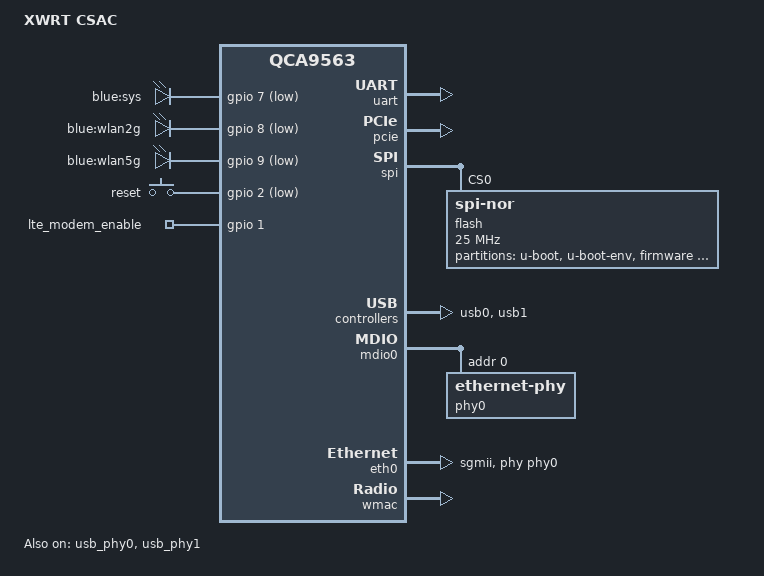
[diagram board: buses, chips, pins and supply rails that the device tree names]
// SPDX-License-Identifier: GPL-2.0-or-later OR MIT
/dts-v1/;

#include <dt-bindings/gpio/gpio.h>
#include <dt-bindings/input/input.h>

#include "qca956x.dtsi"

/ {
	model = "XWRT CSAC";
	compatible = "xwrt,csac", "qca,qca9563";

	aliases {
		led-boot = &led_sys;
		led-failsafe = &led_sys;
		led-running = &led_sys;
		led-upgrade = &led_sys;
	};

	chosen {
		bootargs = "console=ttyS0,115200n8";
	};

	leds {
		compatible = "gpio-leds";

		led_sys: sys {
			label = "blue:sys";
			gpios = <&gpio 7 GPIO_ACTIVE_LOW>;
		};

		wlan2g {
			label = "blue:wlan2g";
			gpios = <&gpio 8 GPIO_ACTIVE_LOW>;
		};

		wlan5g {
			label = "blue:wlan5g";
			gpios = <&gpio 9 GPIO_ACTIVE_LOW>;
		};
	};

	keys {
		compatible = "gpio-keys";

		reset {
			linux,code = <KEY_RESTART>;
			gpios = <&gpio 2 GPIO_ACTIVE_LOW>;
			debounce-interval = <60>;
		};
	};

	gpio_export {
		compatible = "gpio-export";
		#size-cells = <0>;

		lte_modem_enable {
			gpio-export,name = "lte_modem_enable";
			gpio-export,output = <1>;
			gpios = <&gpio 1 GPIO_ACTIVE_HIGH>;
		};
	};
};

&uart {
	status = "okay";
};

&gpio {
	status = "okay";
};

&pcie {
	status = "okay";
};

&spi {
	num-cs = <1>;

	status = "okay";

	flash@0 {
		compatible = "jedec,spi-nor";
		reg = <0>;
		spi-max-frequency = <25000000>;

		partitions {
			compatible = "fixed-partitions";
			#address-cells = <1>;
			#size-cells = <1>;

			partition@0 {
				label = "u-boot";
				reg = <0x000000 0x40000>;
				read-only;
			};

			partition@40000 {
				label = "u-boot-env";
				reg = <0x040000 0x10000>;
				read-only;
			};

			partition@50000 {
				label = "firmware";
				reg = <0x050000 0xfa0000>;

				compatible = "fixed-partitions";
				#address-cells = <1>;
				#size-cells = <1>;

				partition@0 {
					label = "rootfs";
					reg = <0x000000 0xe30000>;
				};

				partition@e30000 {
					label = "kernel";
					reg = <0xe30000 0x170000>;
				};
			};

			art: partition@ff0000 {
				label = "art";
				reg = <0xff0000 0x010000>;
			};
		};
	};
};

&usb_phy0 {
	status = "okay";
};

&usb0 {
	status = "okay";
};

&usb_phy1 {
	status = "okay";
};

&usb1 {
	status = "okay";
};

&mdio0 {
	status = "okay";

	phy-mask = <0>;

	phy0: ethernet-phy@0 {
		reg = <0>;
		phy-mode = "sgmii";

		qca,ar8327-initvals = <
			0x04 0x00080080 /* PORT0 PAD MODE CTRL */
			0x10 0x81000080 /* POWER_ON_STRIP */
			0x50 0xcc35cc35 /* LED_CTRL0 */
			0x54 0xcb37cb37 /* LED_CTRL1 */
			0x58 0x00000000 /* LED_CTRL2 */
			0x5c 0x00f3cf00 /* LED_CTRL3 */
			0x7c 0x0000007e /* PORT0_STATUS */
			>;
	};
};

&eth0 {
	status = "okay";
	mtd-mac-address = <&art 0x0>;

	pll-data = <0x03000101 0x00000101 0x00001919>;

	phy-mode = "sgmii";
	phy-handle = <&phy0>;
};

&wmac {
	status = "okay";
	mtd-cal-data = <&art 0x1000>;
};
